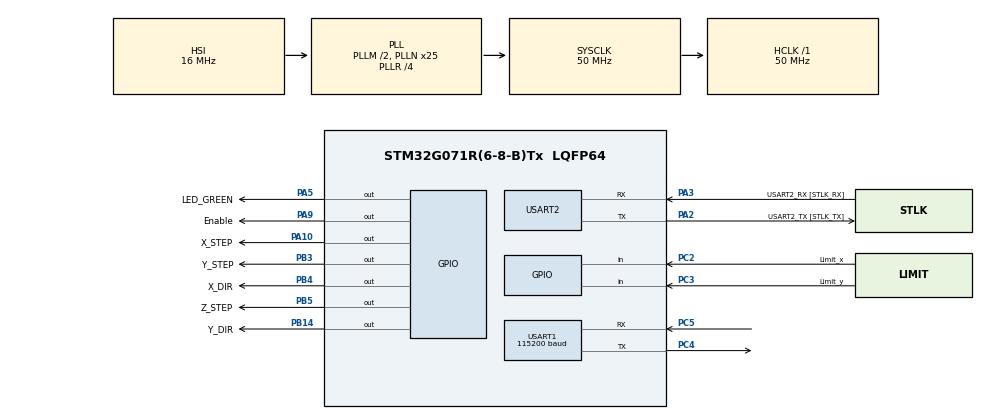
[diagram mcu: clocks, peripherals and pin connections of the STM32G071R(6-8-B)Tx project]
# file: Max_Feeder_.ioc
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Mcu.Family=STM32G0
Mcu.Name=STM32G071R(6-8-B)Tx
Mcu.Package=LQFP64
NVIC.USART1_IRQn=true\:0\:0\:false\:false\:true\:true\:true
NVIC.USART2_IRQn=true\:0\:0\:false\:false\:true\:true\:true
PA10.GPIO_Label=X_STEP
PA10.Signal=GPIO_Output
PA13.GPIO_Label=TMS
PA13.Mode=Serial_Wire
PA13.Signal=SYS_SWDIO
PA14-BOOT0.GPIO_Label=TCK
PA14-BOOT0.Mode=Serial_Wire
PA14-BOOT0.Signal=SYS_SWCLK
PA2.GPIO_Label=USART2_TX [STLK_TX]
PA2.GPIO_PuPd=GPIO_PULLUP
PA2.Mode=Asynchronous
PA2.Signal=USART2_TX
PA3.GPIO_Label=USART2_RX [STLK_RX]
PA3.GPIO_PuPd=GPIO_PULLUP
PA3.Mode=Asynchronous
PA3.Signal=USART2_RX
PA5.GPIO_Label=LED_GREEN
PA5.GPIO_Speed=GPIO_SPEED_FREQ_HIGH
PA5.Signal=GPIO_Output
PA9.GPIO_Label=Enable
PA9.Signal=GPIO_Output
PB14.GPIO_Label=Y_DIR
PB14.Signal=GPIO_Output
PB3.GPIO_Label=Y_STEP
PB3.Signal=GPIO_Output
PB4.GPIO_Label=X_DIR
PB4.Signal=GPIO_Output
PB5.GPIO_Label=Z_STEP
PB5.Signal=GPIO_Output
PC13.Mode=SYS_WakeUp1
PC13.Signal=SYS_WKUP2
PC14-OSC32_IN\ (PC14).Mode=LSE-External-Oscillator
PC14-OSC32_IN\ (PC14).Signal=RCC_OSC32_IN
PC15-OSC32_OUT\ (PC15).Mode=LSE-External-Oscillator
PC15-OSC32_OUT\ (PC15).Signal=RCC_OSC32_OUT
PC2.GPIO_Label=Limit_x
PC2.GPIO_PuPd=GPIO_PULLDOWN
PC2.Signal=GPIO_Input
PC3.GPIO_Label=Limit_y
PC3.GPIO_PuPd=GPIO_PULLDOWN
PC3.Signal=GPIO_Input
PC4.Mode=Asynchronous
PC4.Signal=USART1_TX
PC5.Mode=Asynchronous
PC5.Signal=USART1_RX
PF0-OSC_IN\ (PF0).GPIO_Label=MCO
PF0-OSC_IN\ (PF0).Mode=HSE-External-Clock-Source
PF0-OSC_IN\ (PF0).Signal=RCC_OSC_IN
ProjectManager.HeapSize=0x200
ProjectManager.StackSize=0x400
ProjectManager.TargetToolchain=STM32CubeIDE
RCC.ADCFreq_Value=50000000
RCC.AHBFreq_Value=50000000
RCC.CortexFreq_Value=50000000
RCC.EXTERNAL_CLOCK_VALUE=12288000
RCC.HCLKFreq_Value=50000000
RCC.HSE_VALUE=8000000
RCC.HSI_VALUE=16000000
RCC.PLLM=RCC_PLLM_DIV2
RCC.PLLN=25
RCC.PLLR=RCC_PLLR_DIV4
RCC.SYSCLKFreq_VALUE=50000000
RCC.SYSCLKSource=RCC_SYSCLKSOURCE_PLLCLK
RCC.VCOOutputFreq_Value=200000000
TIM6.Period=0xffff-1
TIM6.Prescaler=50-1
USART1.BaudRate=115200
USART1.VirtualMode-Asynchronous=VM_ASYNC
USART2.VirtualMode-Asynchronous=VM_ASYNC
VP_SYS_VS_DBSignals.Mode=DisableDeadBatterySignals
VP_TIM6_VS_ClockSourceINT.Mode=Enable_Timer
board=NUCLEO-G071RB

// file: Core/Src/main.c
/* USER CODE BEGIN Header */
/**
  ******************************************************************************
  * @file           : main.c
  * @brief          : Main program body
  ******************************************************************************
  * @attention
  *
  * <h2><center>&copy; Copyright (c) 2023 STMicroelectronics.
  * All rights reserved.</center></h2>
  *
  * This software component is licensed by ST under BSD 3-Clause license,
  * the "License"; You may not use this file except in compliance with the
  * License. You may obtain a copy of the License at:
  *                        opensource.org/licenses/BSD-3-Clause
  *
  ******************************************************************************
  */
/* USER CODE END Header */
#include "main.h"

/* USER CODE BEGIN Includes */
#include<Nema17.h>
#include"stdio.h"
#include"string.h"
#include"stdlib.h"
/* USER CODE END Includes */

/* USER CODE BEGIN PM */
#define PRIMERA_FILA_Y 400
#define SEGUNDA_FILA_Y 1040

#define PRIMERA_COLUMNA_X 700
#define SEGUNDA_COLUMNA_X 1140

#define STOP 0
/* USER CODE END PM */

TIM_HandleTypeDef htim6;

UART_HandleTypeDef huart1;
UART_HandleTypeDef huart2;

/* USER CODE BEGIN PV */

TypedefMotor Motores[Max_motors];
char buff[100]="\0";
uint8_t Rx='\0';
uint32_t Velocidad=700;
int var=0;
int Orificio=0;
int Alimentar=0;
int Modo=0;
int Next=0;
int x[4]={PRIMERA_COLUMNA_X,SEGUNDA_COLUMNA_X,STOP,SEGUNDA_COLUMNA_X};
int y[4]={PRIMERA_FILA_Y,STOP,SEGUNDA_FILA_Y,STOP};
int xm[4]={PRIMERA_COLUMNA_X,PRIMERA_COLUMNA_X+SEGUNDA_COLUMNA_X,PRIMERA_COLUMNA_X+SEGUNDA_COLUMNA_X,PRIMERA_COLUMNA_X};
int ym[4]={PRIMERA_FILA_Y,PRIMERA_FILA_Y,PRIMERA_FILA_Y+SEGUNDA_FILA_Y,PRIMERA_FILA_Y+SEGUNDA_FILA_Y};
int Tiempo=30;
int count=0;
enum{Orificio1,Orificio2,Orificio3,Orificio4,FREE};
enum{Automatico,Manual,Inicio,NA};
int flash=0;
uint8_t final[3]={0xFF,0xFF,0xFF};
/* USER CODE END PV */

void SystemClock_Config(void);
static void MX_GPIO_Init(void);
static void MX_USART2_UART_Init(void);
static void MX_TIM6_Init(void);
static void MX_USART1_UART_Init(void);

/* USER CODE BEGIN 0 */
void Recibir(char *string)
{
	if(strstr(string,"automatico"))
	{
		Modo=Automatico;

	}
	else if(strstr(string,"Alimentar"))
	{
		Alimentar=1;
		count=Tiempo;
	}
	else if(strstr(string,"Detener"))
	{
		Alimentar=0;
	}
	else if(strstr(string,"manual"))
	{
		Orificio=FREE;
		Modo=Manual;

		Config_motor_caracteristicas(&Motores[1],0,1);
		Config_motor_caracteristicas(&Motores[0],0,0);
	}
	else if(strstr(string,"1"))
	{
		Orificio=Orificio1;
		Config_motor_caracteristicas(&Motores[1],0,1);
		Config_motor_caracteristicas(&Motores[0],0,0);

	}
	else if(strstr(string,"2"))
	{
		Orificio=Orificio2;
		Config_motor_caracteristicas(&Motores[1],0,1);
		Config_motor_caracteristicas(&Motores[0],0,0);
	}
	else if(strstr(string,"3"))
	{
		Orificio=Orificio3;
		Config_motor_caracteristicas(&Motores[1],0,1);
		Config_motor_caracteristicas(&Motores[0],0,0);
	}
	else if(strstr(string,"4"))
	{
		Orificio=Orificio4;
		Config_motor_caracteristicas(&Motores[1],0,1);
		Config_motor_caracteristicas(&Motores[0],0,0);
	}
	else if(strstr(string,"S"))
	{
		Tiempo+=30;
	}
	else if(strstr(string,"R"))
	{
		Tiempo-=30;
	}
	else if(strstr(string,"principal"))
	{
		Modo=Inicio;
		Alimentar=0;
		Next=0;
		var=0;
	}
}
void Move(int var)
{
		if(!Motores[0].Move)
		  {
			if(Modo==Automatico)
			{
				  Config_motor_caracteristicas(&Motores[0],y[var],Motores[0].Dir);

			}
			else if(Modo==Manual)
			{
				  Config_motor_caracteristicas(&Motores[0],ym[var],Motores[0].Dir);

			}
		 }
		  if(!Motores[1].Move)
		  {
			  if(Modo==Automatico)
			  {
				  Config_motor_caracteristicas(&Motores[1],x[var],Motores[1].Dir);
			  }
			  else if(Modo==Manual)
			  {
				  Config_motor_caracteristicas(&Motores[1],xm[var],Motores[1].Dir);
			  }

		  }
}
void Transmit(UART_HandleTypeDef huart,char *string)
{
	HAL_UART_Transmit(&huart,(uint8_t*)string,strlen(string),HAL_MAX_DELAY);
}
void Enviar(int dato,char *string)
{
	char mensaje[50]="\0";
	if(strstr(string,"Reloj"))
	{
		sprintf(mensaje,"n1.val=%i",dato);
	}
	else if(strstr(string,"Orificio"))
	{
		sprintf(mensaje,"n0.val=%i",dato);
	}
	else if(strstr(string,"FinishAuto"))
	{
		if(dato==0)
		{
			sprintf(mensaje,"r0.val=%i",dato);
		}
		else
		{
			sprintf(mensaje,"r1.val=%i",dato);
		}

	}
	Transmit(huart1,mensaje);
	Transmit(huart1,(char*)final);

}

/* USER CODE END 0 */

int main(void)
{

  /* MCU Configuration--------------------------------------------------------*/

  /* Reset of all peripherals, Initializes the Flash interface and the Systick. */
   HAL_Init();

  /* Configure the system clock */
  SystemClock_Config();

  /* Initialize all configured peripherals */
  MX_GPIO_Init();
  MX_USART2_UART_Init();
  MX_TIM6_Init();
  MX_USART1_UART_Init();
  /* USER CODE BEGIN 2 */
  Modo=Inicio;
  Orificio=FREE;
  HAL_UART_Receive_IT(&huart1,&Rx,1);
  HAL_TIM_Base_Start(&htim6);
  Config_motor_Pin(&Motores[0],X_STEP_GPIO_Port,X_DIR_GPIO_Port,X_STEP_Pin,X_DIR_Pin);
  Config_motor_Pin(&Motores[1],Y_STEP_GPIO_Port,Y_DIR_GPIO_Port,Y_STEP_Pin,Y_DIR_Pin);
  uint32_t start = HAL_GetTick();
  /* USER CODE END 2 */

  /* Infinite loop */
  /* USER CODE BEGIN WHILE */
  while (1)
  {

	  if(Alimentar)
	  {
		Movimiento_simultaneo(Motores,Velocidad);
		if(Modo==Automatico)
		{
		Enviar(var,"Orificio");
		Enviar(count,"Reloj");
		}
		else if(Modo==Manual)
		{
		Enviar(count, "Reloj");
		}
	  }
	switch (Modo) {
		case Automatico:

			if(Alimentar&&!Next)
			{
				if(var==Orificio1)
				{
					Config_motor_caracteristicas(&Motores[0],0,0);//Y
					Config_motor_caracteristicas(&Motores[1],0,1);//X

				}
				else if(var==Orificio3)
				{
					Config_motor_caracteristicas(&Motores[0],0,0);//Y
				}
				else if(var==Orificio4)
				{
					Config_motor_caracteristicas(&Motores[1],0,0);//X

				}
				if(var>Orificio4)
				{
					Enviar(0,"FinishAuto");
					Enviar(1,"FinishAuto");
					Modo=Inicio;
					Alimentar=0;
					var=0;
				}
				else
				{
					Move(var++);
					Next=1;
				}

			}
			else if(Next&&!Motores[0].Move&&!Motores[1].Move)
			{

				if(!((HAL_GetTick() - start) < 1000))
				{
					if(Alimentar)
					{
					  start = HAL_GetTick();

					  count--;
					  flash=!flash;

					}
					//enviar valor de count
				}
				else if(count<=0)
				{
					Next=0;

					count=Tiempo;

				}
			}

			break;
		case Manual:
			if(Alimentar&&!Next)
			{
				if(Orificio!=FREE)
				{
				Move(Orificio);
				Next=1;
				}

			}
			else if(Next&&!Motores[0].Move&&!Motores[1].Move)
			{
				if(!((HAL_GetTick() - start) < 1000))
				{
					if(Alimentar)
					{
						start = HAL_GetTick();
						count--;
					}
					//enviar valor de count
				}
				else if(count<=0)
				{
					Next=0;
					Alimentar=0;
					Orificio=FREE;
					while(1)
					{
						Movimiento_simultaneo(Motores,Velocidad);
						if(!Motores[0].Move)//Y
						{
							if(!HAL_GPIO_ReadPin(Limit_y_GPIO_Port,Limit_y_Pin))
							{
								Config_motor_caracteristicas(&Motores[0],1,1);
							}
						}
						if(!Motores[1].Move)//X
						{
							if(!HAL_GPIO_ReadPin(Limit_x_GPIO_Port,Limit_x_Pin))
							{
								Config_motor_caracteristicas(&Motores[1],1,0);
							}
						}
						if(HAL_GPIO_ReadPin(Limit_y_GPIO_Port,Limit_y_Pin)&&HAL_GPIO_ReadPin(Limit_x_GPIO_Port,Limit_x_Pin))
						{
							break;
						}

					}
					count=Tiempo;
				}
			}
			break;
		case Inicio:
			Movimiento_simultaneo(Motores,Velocidad);
			if(!Motores[0].Move)//Y
			{
				if(!HAL_GPIO_ReadPin(Limit_y_GPIO_Port,Limit_y_Pin))
				{
					Config_motor_caracteristicas(&Motores[0],1,1);
				}
			}
			if(!Motores[1].Move)//X
			{
				if(!HAL_GPIO_ReadPin(Limit_x_GPIO_Port,Limit_x_Pin))
				{
					Config_motor_caracteristicas(&Motores[1],1,0);
				}
			}
			break;
		default:
			break;
	}

    /* USER CODE END WHILE */

  }
}

void SystemClock_Config(void)
{
  RCC_OscInitTypeDef RCC_OscInitStruct = {0};
  RCC_ClkInitTypeDef RCC_ClkInitStruct = {0};
  RCC_PeriphCLKInitTypeDef PeriphClkInit = {0};

  /** Configure the main internal regulator output voltage
  */
  HAL_PWREx_ControlVoltageScaling(PWR_REGULATOR_VOLTAGE_SCALE1);
  /** Initializes the RCC Oscillators according to the specified parameters
  * in the RCC_OscInitTypeDef structure.
  */
  RCC_OscInitStruct.OscillatorType = RCC_OSCILLATORTYPE_HSI;
  RCC_OscInitStruct.HSIState = RCC_HSI_ON;
  RCC_OscInitStruct.HSIDiv = RCC_HSI_DIV1;
  RCC_OscInitStruct.HSICalibrationValue = RCC_HSICALIBRATION_DEFAULT;
  RCC_OscInitStruct.PLL.PLLState = RCC_PLL_ON;
  RCC_OscInitStruct.PLL.PLLSource = RCC_PLLSOURCE_HSI;
  RCC_OscInitStruct.PLL.PLLM = RCC_PLLM_DIV2;
  RCC_OscInitStruct.PLL.PLLN = 25;
  RCC_OscInitStruct.PLL.PLLP = RCC_PLLP_DIV2;
  RCC_OscInitStruct.PLL.PLLQ = RCC_PLLQ_DIV2;
  RCC_OscInitStruct.PLL.PLLR = RCC_PLLR_DIV4;
  if (HAL_RCC_OscConfig(&RCC_OscInitStruct) != HAL_OK)
  {
    Error_Handler();
  }
  /** Initializes the CPU, AHB and APB buses clocks
  */
  RCC_ClkInitStruct.ClockType = RCC_CLOCKTYPE_HCLK|RCC_CLOCKTYPE_SYSCLK
                              |RCC_CLOCKTYPE_PCLK1;
  RCC_ClkInitStruct.SYSCLKSource = RCC_SYSCLKSOURCE_PLLCLK;
  RCC_ClkInitStruct.AHBCLKDivider = RCC_SYSCLK_DIV1;
  RCC_ClkInitStruct.APB1CLKDivider = RCC_HCLK_DIV1;

  if (HAL_RCC_ClockConfig(&RCC_ClkInitStruct, FLASH_LATENCY_2) != HAL_OK)
  {
    Error_Handler();
  }
  /** Initializes the peripherals clocks
  */
  PeriphClkInit.PeriphClockSelection = RCC_PERIPHCLK_USART1|RCC_PERIPHCLK_USART2;
  PeriphClkInit.Usart1ClockSelection = RCC_USART1CLKSOURCE_PCLK1;
  PeriphClkInit.Usart2ClockSelection = RCC_USART2CLKSOURCE_PCLK1;
  if (HAL_RCCEx_PeriphCLKConfig(&PeriphClkInit) != HAL_OK)
  {
    Error_Handler();
  }
}

static void MX_TIM6_Init(void)
{

  TIM_MasterConfigTypeDef sMasterConfig = {0};

  htim6.Instance = TIM6;
  htim6.Init.Prescaler = 50-1;
  htim6.Init.CounterMode = TIM_COUNTERMODE_UP;
  htim6.Init.Period = 0xffff-1;
  htim6.Init.AutoReloadPreload = TIM_AUTORELOAD_PRELOAD_DISABLE;
  if (HAL_TIM_Base_Init(&htim6) != HAL_OK)
  {
    Error_Handler();
  }
  sMasterConfig.MasterOutputTrigger = TIM_TRGO_RESET;
  sMasterConfig.MasterSlaveMode = TIM_MASTERSLAVEMODE_DISABLE;
  if (HAL_TIMEx_MasterConfigSynchronization(&htim6, &sMasterConfig) != HAL_OK)
  {
    Error_Handler();
  }

}

static void MX_USART1_UART_Init(void)
{

  huart1.Instance = USART1;
  huart1.Init.BaudRate = 115200;
  huart1.Init.WordLength = UART_WORDLENGTH_8B;
  huart1.Init.StopBits = UART_STOPBITS_1;
  huart1.Init.Parity = UART_PARITY_NONE;
  huart1.Init.Mode = UART_MODE_TX_RX;
  huart1.Init.HwFlowCtl = UART_HWCONTROL_NONE;
  huart1.Init.OverSampling = UART_OVERSAMPLING_16;
  huart1.Init.OneBitSampling = UART_ONE_BIT_SAMPLE_DISABLE;
  huart1.Init.ClockPrescaler = UART_PRESCALER_DIV1;
  huart1.AdvancedInit.AdvFeatureInit = UART_ADVFEATURE_NO_INIT;
  if (HAL_UART_Init(&huart1) != HAL_OK)
  {
    Error_Handler();
  }
  if (HAL_UARTEx_SetTxFifoThreshold(&huart1, UART_TXFIFO_THRESHOLD_1_8) != HAL_OK)
  {
    Error_Handler();
  }
  if (HAL_UARTEx_SetRxFifoThreshold(&huart1, UART_RXFIFO_THRESHOLD_1_8) != HAL_OK)
  {
    Error_Handler();
  }
  if (HAL_UARTEx_DisableFifoMode(&huart1) != HAL_OK)
  {
    Error_Handler();
  }

}

static void MX_USART2_UART_Init(void)
{

  huart2.Instance = USART2;
  huart2.Init.BaudRate = 115200;
  huart2.Init.WordLength = UART_WORDLENGTH_8B;
  huart2.Init.StopBits = UART_STOPBITS_1;
  huart2.Init.Parity = UART_PARITY_NONE;
  huart2.Init.Mode = UART_MODE_TX_RX;
  huart2.Init.HwFlowCtl = UART_HWCONTROL_NONE;
  huart2.Init.OverSampling = UART_OVERSAMPLING_16;
  huart2.Init.OneBitSampling = UART_ONE_BIT_SAMPLE_DISABLE;
  huart2.Init.ClockPrescaler = UART_PRESCALER_DIV1;
  huart2.AdvancedInit.AdvFeatureInit = UART_ADVFEATURE_NO_INIT;
  if (HAL_UART_Init(&huart2) != HAL_OK)
  {
    Error_Handler();
  }
  if (HAL_UARTEx_SetTxFifoThreshold(&huart2, UART_TXFIFO_THRESHOLD_1_8) != HAL_OK)
  {
    Error_Handler();
  }
  if (HAL_UARTEx_SetRxFifoThreshold(&huart2, UART_RXFIFO_THRESHOLD_1_8) != HAL_OK)
  {
    Error_Handler();
  }
  if (HAL_UARTEx_DisableFifoMode(&huart2) != HAL_OK)
  {
    Error_Handler();
  }

}

static void MX_GPIO_Init(void)
{
  GPIO_InitTypeDef GPIO_InitStruct = {0};

  /* GPIO Ports Clock Enable */
  __HAL_RCC_GPIOC_CLK_ENABLE();
  __HAL_RCC_GPIOF_CLK_ENABLE();
  __HAL_RCC_GPIOA_CLK_ENABLE();
  __HAL_RCC_GPIOB_CLK_ENABLE();

  /*Configure GPIO pin Output Level */
  HAL_GPIO_WritePin(GPIOA, LED_GREEN_Pin|Enable_Pin|X_STEP_Pin, GPIO_PIN_RESET);

  /*Configure GPIO pin Output Level */
  HAL_GPIO_WritePin(GPIOB, Y_DIR_Pin|Y_STEP_Pin|X_DIR_Pin|Z_STEP_Pin, GPIO_PIN_RESET);

  /*Configure GPIO pins : Limit_x_Pin Limit_y_Pin */
  GPIO_InitStruct.Pin = Limit_x_Pin|Limit_y_Pin;
  GPIO_InitStruct.Mode = GPIO_MODE_INPUT;
  GPIO_InitStruct.Pull = GPIO_PULLDOWN;
  HAL_GPIO_Init(GPIOC, &GPIO_InitStruct);

  /*Configure GPIO pin : LED_GREEN_Pin */
  GPIO_InitStruct.Pin = LED_GREEN_Pin;
  GPIO_InitStruct.Mode = GPIO_MODE_OUTPUT_PP;
  GPIO_InitStruct.Pull = GPIO_NOPULL;
  GPIO_InitStruct.Speed = GPIO_SPEED_FREQ_HIGH;
  HAL_GPIO_Init(LED_GREEN_GPIO_Port, &GPIO_InitStruct);

  /*Configure GPIO pins : Y_DIR_Pin Y_STEP_Pin X_DIR_Pin Z_STEP_Pin */
  GPIO_InitStruct.Pin = Y_DIR_Pin|Y_STEP_Pin|X_DIR_Pin|Z_STEP_Pin;
  GPIO_InitStruct.Mode = GPIO_MODE_OUTPUT_PP;
  GPIO_InitStruct.Pull = GPIO_NOPULL;
  GPIO_InitStruct.Speed = GPIO_SPEED_FREQ_LOW;
  HAL_GPIO_Init(GPIOB, &GPIO_InitStruct);

  /*Configure GPIO pins : Enable_Pin X_STEP_Pin */
  GPIO_InitStruct.Pin = Enable_Pin|X_STEP_Pin;
  GPIO_InitStruct.Mode = GPIO_MODE_OUTPUT_PP;
  GPIO_InitStruct.Pull = GPIO_NOPULL;
  GPIO_InitStruct.Speed = GPIO_SPEED_FREQ_LOW;
  HAL_GPIO_Init(GPIOA, &GPIO_InitStruct);

}

/* USER CODE BEGIN 4 */
void HAL_UART_RxCpltCallback(UART_HandleTypeDef *huart)
{
	 static int i=0;
	 if(Rx=='.')
	 {
		 buff[i]='\0';
		 Recibir(buff);
		 i=0;
	 }
	 else if(i<100)
	 {
		 buff[i]=Rx;
		 i++;
	 }
	 else
	 {
		 i=0;
	 }

	HAL_UART_Receive_IT(&huart1,&Rx,1);
}
/* USER CODE END 4 */

void Error_Handler(void)
{
  __disable_irq();
  while (1)
  {
  }
}

/************************ (C) COPYRIGHT STMicroelectronics *****END OF FILE****/
